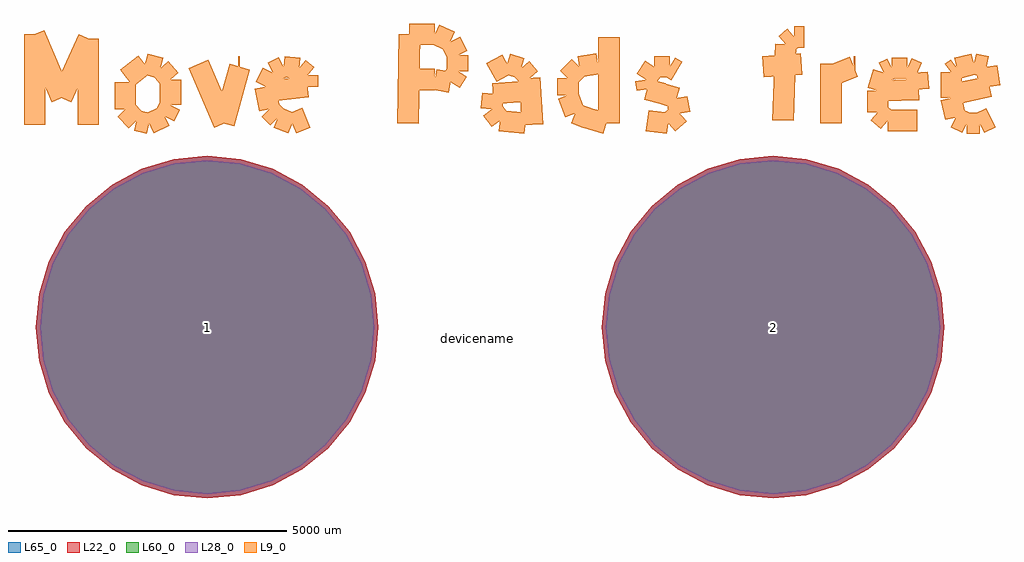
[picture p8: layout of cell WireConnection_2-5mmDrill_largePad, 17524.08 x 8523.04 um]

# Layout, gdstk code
import gdstk
lib = gdstk.Library(unit=1e-6, precision=1e-09)
def P(c, l, *ps):  # polygons
    for p in ps: c.add(gdstk.Polygon(p, *l))
L9_0 = (9, 0)
L22_0 = (22, 0)
L28_0 = (28, 0)
L60_0 = (60, 0)
L65_0 = (65, 0)

wireconnection_2_5mmdril = lib.new_cell('WireConnection_2-5mmDrill_largePad')
P(wireconnection_2_5mmdril, L22_0, [(13234.74,0),(13175.66,599.852),(13000.689,1176.652),(12716.553,1708.234),(12334.17,2174.17),(11868.234,2556.553),(11336.652,2840.689),(10759.852,3015.66),(10160,3074.74),(9560.148,3015.66),(8983.348,2840.689),(8451.766,2556.553),(7985.83,2174.17),(7603.447,1708.234),(7319.311,1176.652),(7144.34,599.852),(7085.26,0),(7144.34,-599.852),(7319.311,-1176.652),(7603.447,-1708.234),(7985.83,-2174.17),(8451.766,-2556.553),(8983.348,-2840.689),(9560.148,-3015.66),(10160,-3074.74),(10759.852,-3015.66),(11336.652,-2840.689),(11868.234,-2556.553),(12334.17,-2174.17),(12716.553,-1708.234),(13000.689,-1176.652),(13175.66,-599.852)],
  [(3074.74,0),(3015.66,599.852),(2840.689,1176.652),(2556.553,1708.234),(2174.17,2174.17),(1708.234,2556.553),(1176.652,2840.689),(599.852,3015.66),(0,3074.74),(-599.852,3015.66),(-1176.652,2840.689),(-1708.234,2556.553),(-2174.17,2174.17),(-2556.553,1708.234),(-2840.689,1176.652),(-3015.66,599.852),(-3074.74,0),(-3015.66,-599.852),(-2840.689,-1176.652),(-2556.553,-1708.234),(-2174.17,-2174.17),(-1708.234,-2556.553),(-1176.652,-2840.689),(-599.852,-3015.66),(0,-3074.74),(599.852,-3015.66),(1176.652,-2840.689),(1708.234,-2556.553),(2174.17,-2174.17),(2556.553,-1708.234),(2840.689,-1176.652),(3015.66,-599.852)])
P(wireconnection_2_5mmdril, L28_0, [(13159.74,0),(13102.101,585.22),(12931.398,1147.951),(12654.193,1666.566),(12281.136,2121.136),(11826.566,2494.193),(11307.951,2771.398),(10745.22,2942.101),(10160,2999.74),(9574.78,2942.101),(9012.049,2771.398),(8493.434,2494.193),(8038.864,2121.136),(7665.807,1666.566),(7388.602,1147.951),(7217.899,585.22),(7160.26,0),(7217.899,-585.22),(7388.602,-1147.951),(7665.807,-1666.566),(8038.864,-2121.136),(8493.434,-2494.193),(9012.049,-2771.398),(9574.78,-2942.101),(10160,-2999.74),(10745.22,-2942.101),(11307.951,-2771.398),(11826.566,-2494.193),(12281.136,-2121.136),(12654.193,-1666.566),(12931.398,-1147.951),(13102.101,-585.22)],
  [(2999.74,0),(2942.101,585.22),(2771.398,1147.951),(2494.193,1666.566),(2121.136,2121.136),(1666.566,2494.193),(1147.951,2771.398),(585.22,2942.101),(0,2999.74),(-585.22,2942.101),(-1147.951,2771.398),(-1666.566,2494.193),(-2121.136,2121.136),(-2494.193,1666.566),(-2771.398,1147.951),(-2942.101,585.22),(-2999.74,0),(-2942.101,-585.22),(-2771.398,-1147.951),(-2494.193,-1666.566),(-2121.136,-2121.136),(-1666.566,-2494.193),(-1147.951,-2771.398),(-585.22,-2942.101),(0,-2999.74),(585.22,-2942.101),(1147.951,-2771.398),(1666.566,-2494.193),(2121.136,-2121.136),(2494.193,-1666.566),(2771.398,-1147.951),(2942.101,-585.22)])
P(wireconnection_2_5mmdril, L60_0, [(13159.74,0),(13102.101,585.22),(12931.398,1147.951),(12654.193,1666.566),(12281.136,2121.136),(11826.566,2494.193),(11307.951,2771.398),(10745.22,2942.101),(10160,2999.74),(9574.78,2942.101),(9012.049,2771.398),(8493.434,2494.193),(8038.864,2121.136),(7665.807,1666.566),(7388.602,1147.951),(7217.899,585.22),(7160.26,0),(7217.899,-585.22),(7388.602,-1147.951),(7665.807,-1666.566),(8038.864,-2121.136),(8493.434,-2494.193),(9012.049,-2771.398),(9574.78,-2942.101),(10160,-2999.74),(10745.22,-2942.101),(11307.951,-2771.398),(11826.566,-2494.193),(12281.136,-2121.136),(12654.193,-1666.566),(12931.398,-1147.951),(13102.101,-585.22)],
  [(2999.74,0),(2942.101,585.22),(2771.398,1147.951),(2494.193,1666.566),(2121.136,2121.136),(1666.566,2494.193),(1147.951,2771.398),(585.22,2942.101),(0,2999.74),(-585.22,2942.101),(-1147.951,2771.398),(-1666.566,2494.193),(-2121.136,2121.136),(-2494.193,1666.566),(-2771.398,1147.951),(-2942.101,585.22),(-2999.74,0),(-2942.101,-585.22),(-2771.398,-1147.951),(-2494.193,-1666.566),(-2121.136,-2121.136),(-1666.566,-2494.193),(-1147.951,-2771.398),(-585.22,-2942.101),(0,-2999.74),(585.22,-2942.101),(1147.951,-2771.398),(1666.566,-2494.193),(2121.136,-2121.136),(2494.193,-1666.566),(2771.398,-1147.951),(2942.101,-585.22)])
P(wireconnection_2_5mmdril, L65_0, [(13234.74,0),(13175.66,599.852),(13000.689,1176.652),(12716.553,1708.234),(12334.17,2174.17),(11868.234,2556.553),(11336.652,2840.689),(10759.852,3015.66),(10160,3074.74),(9560.148,3015.66),(8983.348,2840.689),(8451.766,2556.553),(7985.83,2174.17),(7603.447,1708.234),(7319.311,1176.652),(7144.34,599.852),(7085.26,0),(7144.34,-599.852),(7319.311,-1176.652),(7603.447,-1708.234),(7985.83,-2174.17),(8451.766,-2556.553),(8983.348,-2840.689),(9560.148,-3015.66),(10160,-3074.74),(10759.852,-3015.66),(11336.652,-2840.689),(11868.234,-2556.553),(12334.17,-2174.17),(12716.553,-1708.234),(13000.689,-1176.652),(13175.66,-599.852)],
  [(3074.74,0),(3015.66,599.852),(2840.689,1176.652),(2556.553,1708.234),(2174.17,2174.17),(1708.234,2556.553),(1176.652,2840.689),(599.852,3015.66),(0,3074.74),(-599.852,3015.66),(-1176.652,2840.689),(-1708.234,2556.553),(-2174.17,2174.17),(-2556.553,1708.234),(-2840.689,1176.652),(-3015.66,599.852),(-3074.74,0),(-3015.66,-599.852),(-2840.689,-1176.652),(-2556.553,-1708.234),(-2174.17,-2174.17),(-1708.234,-2556.553),(-1176.652,-2840.689),(-599.852,-3015.66),(0,-3074.74),(599.852,-3015.66),(1176.652,-2840.689),(1708.234,-2556.553),(2174.17,-2174.17),(2556.553,-1708.234),(2840.689,-1176.652),(3015.66,-599.852)])
wireconnection_2_5mmdril.add(gdstk.FlexPath([(-2133.6,5181.6),(-2133.6,3632.2)], 380.998, ends="flush", simple_path=True, layer=9, datatype=0))  # L9_0
wireconnection_2_5mmdril.add(gdstk.FlexPath([(-2616.2,4114.8),(-2133.6,5181.6)], 380.998, ends="flush", simple_path=True, layer=9, datatype=0))  # L9_0
wireconnection_2_5mmdril.add(gdstk.FlexPath([(-3098.8,5257.8),(-2616.2,4114.8)], 380.998, ends="flush", simple_path=True, layer=9, datatype=0))  # L9_0
wireconnection_2_5mmdril.add(gdstk.FlexPath([(-3098.8,3632.2),(-3098.8,5257.8)], 380.998, ends="flush", simple_path=True, layer=9, datatype=0))  # L9_0
wireconnection_2_5mmdril.add(gdstk.FlexPath([(-1117.6,4724.4),(-1447.8,4470.4)], 380.998, ends="flush", simple_path=True, layer=9, datatype=0))  # L9_0
wireconnection_2_5mmdril.add(gdstk.FlexPath([(-838.2,4648.2),(-1117.6,4724.4)], 380.998, ends="flush", simple_path=True, layer=9, datatype=0))  # L9_0
wireconnection_2_5mmdril.add(gdstk.FlexPath([(-660.4,4445),(-838.2,4648.2)], 380.998, ends="flush", simple_path=True, layer=9, datatype=0))  # L9_0
wireconnection_2_5mmdril.add(gdstk.FlexPath([(-660.4,3987.8),(-660.4,4445)], 380.998, ends="flush", simple_path=True, layer=9, datatype=0))  # L9_0
wireconnection_2_5mmdril.add(gdstk.FlexPath([(-762,3784.6),(-660.4,3987.8)], 380.998, ends="flush", simple_path=True, layer=9, datatype=0))  # L9_0
wireconnection_2_5mmdril.add(gdstk.FlexPath([(-1041.4,3657.6),(-762,3784.6)], 380.998, ends="flush", simple_path=True, layer=9, datatype=0))  # L9_0
wireconnection_2_5mmdril.add(gdstk.FlexPath([(-1270,3708.4),(-1041.4,3657.6)], 380.998, ends="flush", simple_path=True, layer=9, datatype=0))  # L9_0
wireconnection_2_5mmdril.add(gdstk.FlexPath([(-1473.2,3911.6),(-1270,3708.4)], 380.998, ends="flush", simple_path=True, layer=9, datatype=0))  # L9_0
wireconnection_2_5mmdril.add(gdstk.FlexPath([(-1473.2,4394.2),(-1473.2,3911.6)], 380.998, ends="flush", simple_path=True, layer=9, datatype=0))  # L9_0
wireconnection_2_5mmdril.add(gdstk.FlexPath([(584.2,4673.6),(558.8,4673.6)], 380.998, ends="flush", simple_path=True, layer=9, datatype=0))  # L9_0
wireconnection_2_5mmdril.add(gdstk.FlexPath([(304.8,3657.6),(584.2,4673.6)], 380.998, ends="flush", simple_path=True, layer=9, datatype=0))  # L9_0
wireconnection_2_5mmdril.add(gdstk.FlexPath([(-152.4,4724.4),(304.8,3657.6)], 380.998, ends="flush", simple_path=True, layer=9, datatype=0))  # L9_0
wireconnection_2_5mmdril.add(gdstk.FlexPath([(1803.4,4318),(1168.4,4241.8)], 380.998, ends="flush", simple_path=True, layer=9, datatype=0))  # L9_0
wireconnection_2_5mmdril.add(gdstk.FlexPath([(1803.4,4521.2),(1803.4,4318)], 380.998, ends="flush", simple_path=True, layer=9, datatype=0))  # L9_0
wireconnection_2_5mmdril.add(gdstk.FlexPath([(1651,4648.2),(1803.4,4521.2)], 380.998, ends="flush", simple_path=True, layer=9, datatype=0))  # L9_0
wireconnection_2_5mmdril.add(gdstk.FlexPath([(1371.6,4673.6),(1651,4648.2)], 380.998, ends="flush", simple_path=True, layer=9, datatype=0))  # L9_0
wireconnection_2_5mmdril.add(gdstk.FlexPath([(1168.4,4572),(1371.6,4673.6)], 380.998, ends="flush", simple_path=True, layer=9, datatype=0))  # L9_0
wireconnection_2_5mmdril.add(gdstk.FlexPath([(1041.4,4318),(1168.4,4572)], 380.998, ends="flush", simple_path=True, layer=9, datatype=0))  # L9_0
wireconnection_2_5mmdril.add(gdstk.FlexPath([(1117.6,3911.6),(1041.4,4318)], 380.998, ends="flush", simple_path=True, layer=9, datatype=0))  # L9_0
wireconnection_2_5mmdril.add(gdstk.FlexPath([(1270,3759.2),(1117.6,3911.6)], 380.998, ends="flush", simple_path=True, layer=9, datatype=0))  # L9_0
wireconnection_2_5mmdril.add(gdstk.FlexPath([(1524,3657.6),(1270,3759.2)], 380.998, ends="flush", simple_path=True, layer=9, datatype=0))  # L9_0
wireconnection_2_5mmdril.add(gdstk.FlexPath([(1778,3759.2),(1524,3657.6)], 380.998, ends="flush", simple_path=True, layer=9, datatype=0))  # L9_0
wireconnection_2_5mmdril.add(gdstk.FlexPath([(4089.4,4445),(3632.2,4445)], 380.998, ends="flush", simple_path=True, layer=9, datatype=0))  # L9_0
wireconnection_2_5mmdril.add(gdstk.FlexPath([(4368.8,4394.2),(4089.4,4445)], 380.998, ends="flush", simple_path=True, layer=9, datatype=0))  # L9_0
wireconnection_2_5mmdril.add(gdstk.FlexPath([(4495.8,4597.4),(4368.8,4394.2)], 380.998, ends="flush", simple_path=True, layer=9, datatype=0))  # L9_0
wireconnection_2_5mmdril.add(gdstk.FlexPath([(4495.8,4876.8),(4495.8,4597.4)], 380.998, ends="flush", simple_path=True, layer=9, datatype=0))  # L9_0
wireconnection_2_5mmdril.add(gdstk.FlexPath([(4368.8,5130.8),(4495.8,4876.8)], 380.998, ends="flush", simple_path=True, layer=9, datatype=0))  # L9_0
wireconnection_2_5mmdril.add(gdstk.FlexPath([(4089.4,5257.8),(4368.8,5130.8)], 380.998, ends="flush", simple_path=True, layer=9, datatype=0))  # L9_0
wireconnection_2_5mmdril.add(gdstk.FlexPath([(3632.2,5257.8),(4089.4,5257.8)], 380.998, ends="flush", simple_path=True, layer=9, datatype=0))  # L9_0
wireconnection_2_5mmdril.add(gdstk.FlexPath([(3606.8,3657.6),(3632.2,5257.8)], 380.998, ends="flush", simple_path=True, layer=9, datatype=0))  # L9_0
wireconnection_2_5mmdril.add(gdstk.FlexPath([(5791.2,4470.4),(5842,3632.2)], 380.998, ends="flush", simple_path=True, layer=9, datatype=0))  # L9_0
wireconnection_2_5mmdril.add(gdstk.FlexPath([(5638.8,4648.2),(5791.2,4470.4)], 380.998, ends="flush", simple_path=True, layer=9, datatype=0))  # L9_0
wireconnection_2_5mmdril.add(gdstk.FlexPath([(5384.8,4724.4),(5638.8,4648.2)], 380.998, ends="flush", simple_path=True, layer=9, datatype=0))  # L9_0
wireconnection_2_5mmdril.add(gdstk.FlexPath([(5105.4,4572),(5384.8,4724.4)], 380.998, ends="flush", simple_path=True, layer=9, datatype=0))  # L9_0
wireconnection_2_5mmdril.add(gdstk.FlexPath([(5130.8,4191),(5842,4241.8)], 380.998, ends="flush", simple_path=True, layer=9, datatype=0))  # L9_0
wireconnection_2_5mmdril.add(gdstk.FlexPath([(5105.4,3911.6),(5130.8,4191)], 380.998, ends="flush", simple_path=True, layer=9, datatype=0))  # L9_0
wireconnection_2_5mmdril.add(gdstk.FlexPath([(5257.8,3708.4),(5105.4,3911.6)], 380.998, ends="flush", simple_path=True, layer=9, datatype=0))  # L9_0
wireconnection_2_5mmdril.add(gdstk.FlexPath([(5715,3657.6),(5257.8,3708.4)], 380.998, ends="flush", simple_path=True, layer=9, datatype=0))  # L9_0
wireconnection_2_5mmdril.add(gdstk.FlexPath([(7213.6,5207),(7213.6,3657.6)], 380.998, ends="flush", simple_path=True, layer=9, datatype=0))  # L9_0
wireconnection_2_5mmdril.add(gdstk.FlexPath([(6680.2,4673.6),(7010.4,4724.4)], 380.998, ends="flush", simple_path=True, layer=9, datatype=0))  # L9_0
wireconnection_2_5mmdril.add(gdstk.FlexPath([(6477,4470.4),(6680.2,4673.6)], 380.998, ends="flush", simple_path=True, layer=9, datatype=0))  # L9_0
wireconnection_2_5mmdril.add(gdstk.FlexPath([(6477,4165.6),(6477,4470.4)], 380.998, ends="flush", simple_path=True, layer=9, datatype=0))  # L9_0
wireconnection_2_5mmdril.add(gdstk.FlexPath([(6604,3835.4),(6477,4165.6)], 380.998, ends="flush", simple_path=True, layer=9, datatype=0))  # L9_0
wireconnection_2_5mmdril.add(gdstk.FlexPath([(6807.2,3759.2),(6604,3835.4)], 380.998, ends="flush", simple_path=True, layer=9, datatype=0))  # L9_0
wireconnection_2_5mmdril.add(gdstk.FlexPath([(7162.8,3657.6),(6807.2,3759.2)], 380.998, ends="flush", simple_path=True, layer=9, datatype=0))  # L9_0
wireconnection_2_5mmdril.add(gdstk.FlexPath([(8280.4,3657.6),(7899.4,3708.4)], 380.998, ends="flush", simple_path=True, layer=9, datatype=0))  # L9_0
wireconnection_2_5mmdril.add(gdstk.FlexPath([(8483.6,3835.4),(8280.4,3657.6)], 380.998, ends="flush", simple_path=True, layer=9, datatype=0))  # L9_0
wireconnection_2_5mmdril.add(gdstk.FlexPath([(8432.8,4114.8),(8483.6,3835.4)], 380.998, ends="flush", simple_path=True, layer=9, datatype=0))  # L9_0
wireconnection_2_5mmdril.add(gdstk.FlexPath([(8178.8,4191),(8432.8,4114.8)], 380.998, ends="flush", simple_path=True, layer=9, datatype=0))  # L9_0
wireconnection_2_5mmdril.add(gdstk.FlexPath([(7899.4,4267.2),(8178.8,4191)], 380.998, ends="flush", simple_path=True, layer=9, datatype=0))  # L9_0
wireconnection_2_5mmdril.add(gdstk.FlexPath([(7874,4445),(7899.4,4267.2)], 380.998, ends="flush", simple_path=True, layer=9, datatype=0))  # L9_0
wireconnection_2_5mmdril.add(gdstk.FlexPath([(8026.4,4673.6),(7874,4445)], 380.998, ends="flush", simple_path=True, layer=9, datatype=0))  # L9_0
wireconnection_2_5mmdril.add(gdstk.FlexPath([(8305.8,4673.6),(8026.4,4673.6)], 380.998, ends="flush", simple_path=True, layer=9, datatype=0))  # L9_0
wireconnection_2_5mmdril.add(gdstk.FlexPath([(8432.8,4597.4),(8305.8,4673.6)], 380.998, ends="flush", simple_path=True, layer=9, datatype=0))  # L9_0
wireconnection_2_5mmdril.add(gdstk.FlexPath([(10388.6,5080),(10337.8,3708.4)], 380.998, ends="flush", simple_path=True, layer=9, datatype=0))  # L9_0
wireconnection_2_5mmdril.add(gdstk.FlexPath([(10541,5207),(10388.6,5080)], 380.998, ends="flush", simple_path=True, layer=9, datatype=0))  # L9_0
wireconnection_2_5mmdril.add(gdstk.FlexPath([(10718.8,5207),(10541,5207)], 380.998, ends="flush", simple_path=True, layer=9, datatype=0))  # L9_0
wireconnection_2_5mmdril.add(gdstk.FlexPath([(9982.2,4673.6),(10668,4724.4)], 380.998, ends="flush", simple_path=True, layer=9, datatype=0))  # L9_0
wireconnection_2_5mmdril.add(gdstk.FlexPath([(11201.4,4724.4),(11201.4,3657.6)], 380.998, ends="flush", simple_path=True, layer=9, datatype=0))  # L9_0
wireconnection_2_5mmdril.add(gdstk.FlexPath([(11607.8,4673.6),(11633.2,4673.6)], 380.998, ends="flush", simple_path=True, layer=9, datatype=0))  # L9_0
wireconnection_2_5mmdril.add(gdstk.FlexPath([(11226.8,4521.2),(11607.8,4673.6)], 380.998, ends="flush", simple_path=True, layer=9, datatype=0))  # L9_0
wireconnection_2_5mmdril.add(gdstk.FlexPath([(12776.2,4267.2),(12141.2,4241.8)], 380.998, ends="flush", simple_path=True, layer=9, datatype=0))  # L9_0
wireconnection_2_5mmdril.add(gdstk.FlexPath([(12750.8,4572),(12776.2,4267.2)], 380.998, ends="flush", simple_path=True, layer=9, datatype=0))  # L9_0
wireconnection_2_5mmdril.add(gdstk.FlexPath([(12573,4648.2),(12750.8,4572)], 380.998, ends="flush", simple_path=True, layer=9, datatype=0))  # L9_0
wireconnection_2_5mmdril.add(gdstk.FlexPath([(12293.6,4648.2),(12573,4648.2)], 380.998, ends="flush", simple_path=True, layer=9, datatype=0))  # L9_0
wireconnection_2_5mmdril.add(gdstk.FlexPath([(12141.2,4572),(12293.6,4648.2)], 380.998, ends="flush", simple_path=True, layer=9, datatype=0))  # L9_0
wireconnection_2_5mmdril.add(gdstk.FlexPath([(12039.6,4241.8),(12141.2,4572)], 380.998, ends="flush", simple_path=True, layer=9, datatype=0))  # L9_0
wireconnection_2_5mmdril.add(gdstk.FlexPath([(12039.6,3860.8),(12039.6,4241.8)], 380.998, ends="flush", simple_path=True, layer=9, datatype=0))  # L9_0
wireconnection_2_5mmdril.add(gdstk.FlexPath([(12217.4,3708.4),(12039.6,3860.8)], 380.998, ends="flush", simple_path=True, layer=9, datatype=0))  # L9_0
wireconnection_2_5mmdril.add(gdstk.FlexPath([(12420.6,3708.4),(12217.4,3708.4)], 380.998, ends="flush", simple_path=True, layer=9, datatype=0))  # L9_0
wireconnection_2_5mmdril.add(gdstk.FlexPath([(12750.8,3708.4),(12420.6,3708.4)], 380.998, ends="flush", simple_path=True, layer=9, datatype=0))  # L9_0
wireconnection_2_5mmdril.add(gdstk.FlexPath([(13436.6,4191),(13436.6,4241.8)], 380.998, ends="flush", simple_path=True, layer=9, datatype=0))  # L9_0
wireconnection_2_5mmdril.add(gdstk.FlexPath([(14046.2,4318),(13436.6,4191)], 380.998, ends="flush", simple_path=True, layer=9, datatype=0))  # L9_0
wireconnection_2_5mmdril.add(gdstk.FlexPath([(13995.4,4673.6),(14046.2,4318)], 380.998, ends="flush", simple_path=True, layer=9, datatype=0))  # L9_0
wireconnection_2_5mmdril.add(gdstk.FlexPath([(13766.8,4724.4),(13995.4,4673.6)], 380.998, ends="flush", simple_path=True, layer=9, datatype=0))  # L9_0
wireconnection_2_5mmdril.add(gdstk.FlexPath([(13462,4648.2),(13766.8,4724.4)], 380.998, ends="flush", simple_path=True, layer=9, datatype=0))  # L9_0
wireconnection_2_5mmdril.add(gdstk.FlexPath([(13360.4,4572),(13462,4648.2)], 380.998, ends="flush", simple_path=True, layer=9, datatype=0))  # L9_0
wireconnection_2_5mmdril.add(gdstk.FlexPath([(13360.4,4114.8),(13360.4,4572)], 380.998, ends="flush", simple_path=True, layer=9, datatype=0))  # L9_0
wireconnection_2_5mmdril.add(gdstk.FlexPath([(13436.6,3759.2),(13360.4,4114.8)], 380.998, ends="flush", simple_path=True, layer=9, datatype=0))  # L9_0
wireconnection_2_5mmdril.add(gdstk.FlexPath([(13639.8,3657.6),(13436.6,3759.2)], 380.998, ends="flush", simple_path=True, layer=9, datatype=0))  # L9_0
wireconnection_2_5mmdril.add(gdstk.FlexPath([(13868.4,3657.6),(13639.8,3657.6)], 380.998, ends="flush", simple_path=True, layer=9, datatype=0))  # L9_0
wireconnection_2_5mmdril.add(gdstk.FlexPath([(14071.6,3759.2),(13868.4,3657.6)], 380.998, ends="flush", simple_path=True, layer=9, datatype=0))  # L9_0
wireconnection_2_5mmdril.add(gdstk.Label('2', (10160,0), layer=28, texttype=0))
wireconnection_2_5mmdril.add(gdstk.Label('1', (0,0), layer=28, texttype=0))
wireconnection_2_5mmdril.add(gdstk.Label('type', (5080,-3810), layer=9, texttype=0))
wireconnection_2_5mmdril.add(gdstk.Label('devicename', (4851.4,-203.2), layer=9, texttype=0))

lib.write_gds('WireConnection_2-5mmDrill_largePad.gds')
